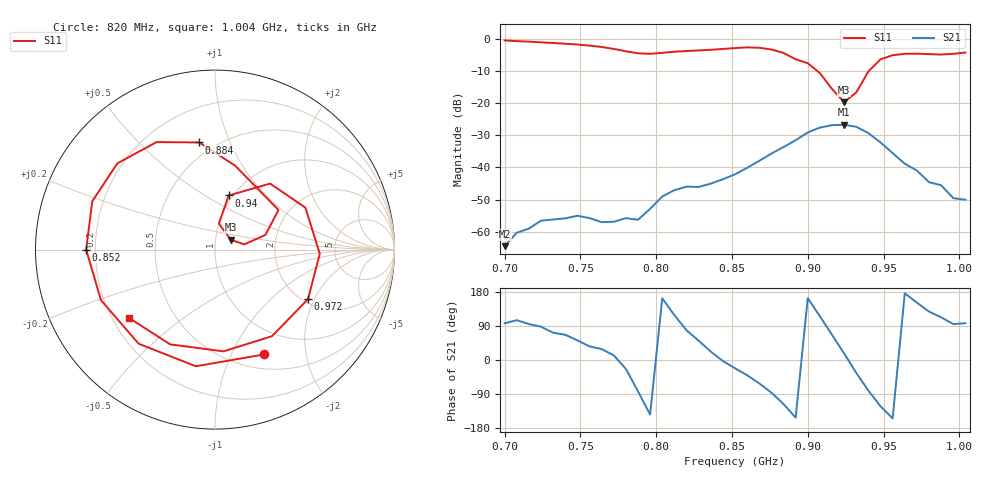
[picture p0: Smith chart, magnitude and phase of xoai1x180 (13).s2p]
# Hz S RI R 50
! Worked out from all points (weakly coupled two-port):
!   39 points, 700 MHz to 1.004 GHz, reference 50 ohm
!   highest |S21| = -26.75 dB at 924 MHz (marker M1); lowest = -64.5 dB at 700 MHz (marker M2)
!   lowest |S11| = -19.7 dB at 924 MHz (marker M3), VSWR 1.23, Z = 59.3 + j6.55 ohm
!   |S11| at or under -10 dB: 906.3 MHz to 940.3 MHz (34.04 MHz wide, 3.69 % of centre)
!   S12 and S22 are empty: the file has one direction only
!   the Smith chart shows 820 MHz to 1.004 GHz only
!   S11 on the Smith chart (normalised r, x): 820 MHz: 0.67, -1.35; 852 MHz: 0.16, -0.00; 884 MHz: 0.41, +0.78; 940 MHz: 0.96, +0.64; 972 MHz: 2.13, -1.79; 1.004 GHz: 0.27, -0.33
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7e8  0.7636 0.5518  -7.15e-05 0.000592  0 0  0 0
7.24e8  0.8435 -0.2511  5.69e-05 0.00149  0 0  0 0
7.4e8  0.4604 -0.7  0.00064 0.00148  0 0  0 0
7.56e8  -0.1909 -0.7597  0.00132 0.000956  0 0  0 0
7.72e8  -0.6669 -0.1993  0.0014 0.000305  0 0  0 0
7.8e8  -0.5974 0.2274  0.00149 -0.000644  0 0  0 0
7.88e8  -0.2503 0.54  0.000194 -0.00152  0 0  0 0
7.96e8  0.2453 0.5306  -0.00184 -0.00133  0 0  0 0
8.04e8  0.5782 0.178  -0.00338 0.00104  0 0  0 0
8.2e8  0.2756 -0.5838  0.00101 0.00492  0 0  0 0
8.36e8  -0.425 -0.5245  0.00518 0.00212  0 0  0 0
8.52e8  -0.7178 -0.000211  0.00725 -0.0029  0 0  0 0
8.68e8  -0.5442 0.4804  0.00601 -0.0111  0 0  0 0
8.84e8  -0.0878 0.597  -0.00914 -0.0186  0 0  0 0
9e8  0.3538 0.2207  -0.0334 0.0101  0 0  0 0
9.08e8  0.2812 0.0822  -0.0179 0.0376  0 0  0 0
9.24e8  0.088 0.0547  0.0439 0.0137  0 0  0 0
9.4e8  0.0763 0.3015  0.00549 -0.0337  0 0  0 0
9.56e8  0.5037 0.2339  -0.015 -0.00729  0 0  0 0
9.72e8  0.5183 -0.2758  -0.00786 0.00428  0 0  0 0
9.88e8  0.0472 -0.5668  -0.00204 0.00487  0 0  0 0
1.004e9  -0.4782 -0.3811  -0.000386 0.00312  0 0  0 0
